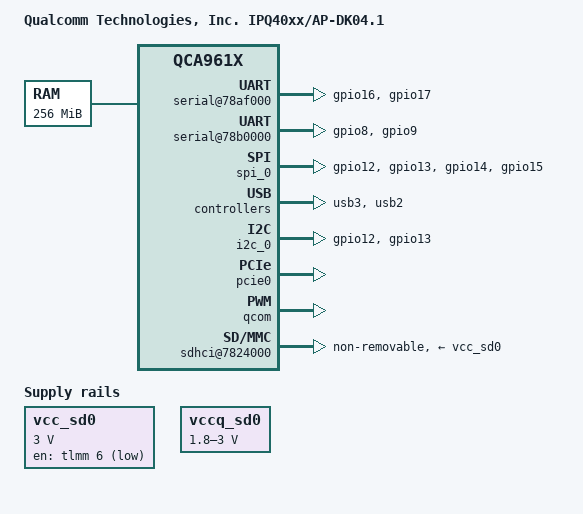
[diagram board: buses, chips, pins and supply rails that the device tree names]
/* Copyright (c) 2015, The Linux Foundation. All rights reserved.
 *
 * Permission to use, copy, modify, and/or distribute this software for any
 * purpose with or without fee is hereby granted, provided that the above
 * copyright notice and this permission notice appear in all copies.
 *
 * THE SOFTWARE IS PROVIDED "AS IS" AND THE AUTHOR DISCLAIMS ALL WARRANTIES
 * WITH REGARD TO THIS SOFTWARE INCLUDING ALL IMPLIED WARRANTIES OF
 * MERCHANTABILITY AND FITNESS. IN NO EVENT SHALL THE AUTHOR BE LIABLE FOR
 * ANY SPECIAL, DIRECT, INDIRECT, OR CONSEQUENTIAL DAMAGES OR ANY DAMAGES
 * WHATSOEVER RESULTING FROM LOSS OF USE, DATA OR PROFITS, WHETHER IN AN
 * ACTION OF CONTRACT, NEGLIGENCE OR OTHER TORTIOUS ACTION, ARISING OUT OF
 * OR IN CONNECTION WITH THE USE OR PERFORMANCE OF THIS SOFTWARE.
 *
 */

#include "qcom-ipq40xx.dtsi"

/ {
	model = "Qualcomm Technologies, Inc. IPQ40xx/AP-DK04.1";
	compatible = "qcom,ipq40xx-apdk04.1", "qcom,qca961x";

	memory {
		device_type = "memory";
		reg = <0x80000000 0x10000000>; /* 256MB */
	};

	reserved-memory {
		#address-cells = <1>;
		#size-cells = <1>;
		ranges;
		/* Reserved for other subsystem */
		reg = <0x87000000 0x01000000>;
		no-map;
	};

	chosen {
		bootargs = "console=ttyMSM0,115200n8";
	};

};
	&soc {
		pinctrl@0x01000000 {
			serial_0_pins: serial0_pinmux {
				mux {
					pins = "gpio16", "gpio17";
					function = "blsp_uart0";
					bias-disable;
				};
			};

			serial_1_pins: serial1_pinmux {
				mux {
					pins = "gpio8", "gpio9";
					function = "blsp_uart1";
					bias-disable;
				};
			};

			spi_0_pins: spi_0_pinmux {
				mux {
					pins = "gpio12", "gpio13", "gpio14", "gpio15";
					function = "blsp_spi0";
					bias-disable;
				};
			};

			i2c_0_pins: i2c_0_pinmux {
				mux {
					pins = "gpio12", "gpio13";
					function = "blsp_spi0";
					bias-disable;
				};
			};
		};

		serial@78af000 {
			pinctrl-0 = <&serial_0_pins>;
			pinctrl-names = "default";
			status = "ok";
		};

		serial@78b0000 {
			pinctrl-0 = <&serial_1_pins>;
			pinctrl-names = "default";
			status = "ok";
		};

		spi_0: spi@78b5000 { /* BLSP1 QUP1 */
			pinctrl-0 = <&spi_0_pins>;
			pinctrl-names = "default";
			status = "ok";
		};

		tcsr: tcsr@194b000 {
			status = "ok";
		};

		usb3_ss_phy: ssphy@90000 {
			status = "ok";
		};

		dummy_ss_phy: ssphy@0 {
			status = "ok";
		};

		usb3_hs_phy: hsphy@a6000 {
			status = "ok";
		};

		usb2_hs_phy: hsphy@a8000 {
			status = "ok";
		};

		usb3: usb3@8a00000 {
			status = "ok";
		};

		usb2: usb2@6000000 {
			status = "ok";
		};

		i2c_0: i2c@78b67000 { /* BLSP1 QUP2 */
			pinctrl-0 = <&i2c_0_pins>;
			pinctrl-names = "default";
			status = "ok";
		};

		qcom_crypto: qcrypto@8e20000 {
			status = "ok";
		};

		qcom_cedev: qcedev@8e20000 {
			status = "ok";
		};

		pcie0: qcom,pcie@80000 {
			status = "ok";
			perst-gpio = <&tlmm 61 0>;
			wake-gpio = <&tlmm 65 0>;
			clkreq-gpio = <&tlmm 64 0>;
		};

		qcom: ledc@1937000  {
			 status = "ok";
		};

		ess-switch@c000000 {
			switch_mac_mode = <0x0>; /* mac mode for RGMII RMII */
			switch_initvlas = <
				0x0007c 0x54 /* PORT0_STATUS */
			>;
		};

		vcc_sd0: regulator@0 {
			compatible = "regulator-fixed";
			regulator-name = "SDHI0 Vcc";
			regulator-min-microvolt = <3000000>;
			regulator-max-microvolt = <3000000>;
			gpio = <&tlmm 6 0>;
		};

		vccq_sd0: regulator@1 {
			compatible = "regulator-gpio";
			regulator-name = "SD0 VccQ";
			regulator-min-microvolt = <1800000>;
			regulator-max-microvolt = <3000000>;
			gpios = <&tlmm 7 0>;
			states = <3000000 0
				1800000 1>;
			enable-active-high;
		};

		sdhci@7824000 {
			status = "ok";
			vmmc-supply = <&vcc_sd0>;
			vqmmc-supply = <&vccq_sd0>;
			non-removable;
		};

		qcom,nand@7980000 {
			status = "disabled";
		};
	};
